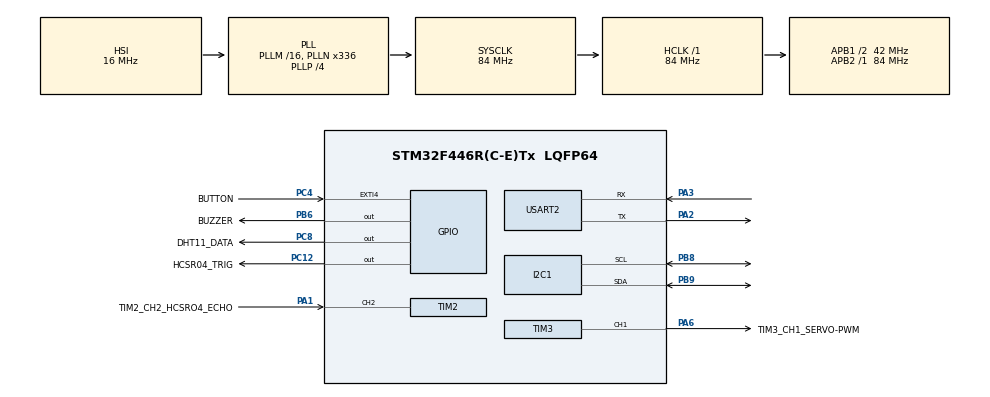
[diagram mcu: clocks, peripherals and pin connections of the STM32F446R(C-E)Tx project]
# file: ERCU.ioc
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FREERTOS.Queues01=SensorQueueHandle,16,uint16_t,0,Dynamic,NULL,NULL;FaultQueueHandle,16,uint16_t,0,Dynamic,NULL,NULL
FREERTOS.Tasks01=defaultTask,24,128,StartDefaultTask,Default,NULL,Dynamic,NULL,NULL;SensorTask,40,256,StartSensorTask,Default,NULL,Dynamic,NULL,NULL;FaultTask,32,256,StartTask03,Default,NULL,Dynamic,NULL,NULL;ActuatorTask,24,256,StartActuatorTask,Default,NULL,Dynamic,NULL,NULL;UartTask,8,256,StartUartTask,Default,NULL,Dynamic,NULL,NULL
FREERTOS.configUSE_NEWLIB_REENTRANT=1
Mcu.Family=STM32F4
Mcu.Name=STM32F446R(C-E)Tx
Mcu.Package=LQFP64
NVIC.EXTI4_IRQn=true\:5\:0\:false\:false\:true\:true\:true\:true\:true
NVIC.PriorityGroup=NVIC_PRIORITYGROUP_4
NVIC.TIM2_IRQn=true\:5\:0\:false\:false\:true\:true\:true\:true\:true
PA1.GPIO_Label=TIM2_CH2_HCSRO4_ECHO
PA1.Signal=S_TIM2_CH2
PA13.Mode=Serial_Wire
PA13.Signal=SYS_JTMS-SWDIO
PA14.Mode=Serial_Wire
PA14.Signal=SYS_JTCK-SWCLK
PA2.Mode=Asynchronous
PA2.Signal=USART2_TX
PA3.Mode=Asynchronous
PA3.Signal=USART2_RX
PA6.GPIO_Label=TIM3_CH1_SERVO-PWM
PA6.Signal=S_TIM3_CH1
PB6.GPIO_Label=BUZZER
PB6.Signal=GPIO_Output
PB8.Mode=I2C
PB8.Signal=I2C1_SCL
PB9.Mode=I2C
PB9.Signal=I2C1_SDA
PC12.GPIO_Label=HCSR04_TRIG
PC12.Signal=GPIO_Output
PC14-OSC32_IN.Mode=LSE-External-Oscillator
PC14-OSC32_IN.Signal=RCC_OSC32_IN
PC15-OSC32_OUT.Mode=LSE-External-Oscillator
PC15-OSC32_OUT.Signal=RCC_OSC32_OUT
PC4.GPIO_Label=BUTTON
PC4.GPIO_ModeDefaultEXTI=GPIO_MODE_IT_FALLING
PC4.GPIO_PuPd=GPIO_PULLUP
PC4.Signal=GPXTI4
PC8.GPIO_Label=DHT11_DATA
PC8.Signal=GPIO_Output
PH0-OSC_IN.Mode=HSE-External-Oscillator
PH0-OSC_IN.Signal=RCC_OSC_IN
PH1-OSC_OUT.Mode=HSE-External-Oscillator
PH1-OSC_OUT.Signal=RCC_OSC_OUT
ProjectManager.HeapSize=0x200
ProjectManager.StackSize=0x400
ProjectManager.TargetToolchain=STM32CubeIDE
RCC.48MHZClocksFreq_Value=84000000
RCC.AHBFreq_Value=84000000
RCC.APB1CLKDivider=RCC_HCLK_DIV2
RCC.APB1Freq_Value=42000000
RCC.APB1TimFreq_Value=84000000
RCC.APB2Freq_Value=84000000
RCC.APB2TimFreq_Value=84000000
RCC.CortexFreq_Value=84000000
RCC.FLatency-AdvancedSettings=FLASH_LATENCY_2
RCC.HCLKFreq_Value=84000000
RCC.HSE_VALUE=8000000
RCC.HSI_VALUE=16000000
RCC.PLLN=336
RCC.PLLP=RCC_PLLP_DIV4
RCC.SYSCLKFreq_VALUE=84000000
RCC.SYSCLKSource=RCC_SYSCLKSOURCE_PLLCLK
RCC.USBFreq_Value=168000000
RCC.VCOOutputFreq_Value=336000000
SH.S_TIM2_CH2.0=TIM2_CH2,Input_Capture2_from_TI2
SH.S_TIM3_CH1.0=TIM3_CH1,PWM Generation1 CH1
TIM2.Channel-Input_Capture2_from_TI2=TIM_CHANNEL_2
TIM2.Period=0xFFFF
TIM3.Channel-PWM\ Generation1\ CH1=TIM_CHANNEL_1
TIM3.Period=19999
TIM3.Prescaler=83
TIM3.Pulse-PWM\ Generation1\ CH1=1500
USART2.VirtualMode=VM_ASYNC
VP_FREERTOS_VS_CMSIS_V2.Mode=CMSIS_V2
board=NUCLEO-F446RE

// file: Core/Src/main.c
/* USER CODE BEGIN Header */
/**
 ******************************************************************************
 * @file           : main.c
 * @brief          : Main program body
 ******************************************************************************
 * @attention
 *
 * Copyright (c) 2026 STMicroelectronics.
 * All rights reserved.
 *
 * This software is licensed under terms that can be found in the LICENSE file
 * in the root directory of this software component.
 * If no LICENSE file comes with this software, it is provided AS-IS.
 *
 ******************************************************************************
 */
/* USER CODE END Header */
#include "main.h"
#include "cmsis_os.h"

/* USER CODE BEGIN Includes */
#include "button.h"
#include "buzzer.h"
#include "dht11.h"
#include "hcsr04.h"
#include "mpu6050.h"
#include "servo.h"
#include <stdio.h>
#include <string.h>

/* USER CODE END Includes */

/* USER CODE BEGIN PD */
#define OVERHEAT_THRESHOLD_C   45.0f
#define NEARBY_THRESHOLD_CM    30.0f
#define OBSTACLE_THRESHOLD_CM  10.0f
/* USER CODE END PD */

I2C_HandleTypeDef hi2c1;

TIM_HandleTypeDef htim2;
TIM_HandleTypeDef htim3;

UART_HandleTypeDef huart2;

/* Definitions for defaultTask */
osThreadId_t defaultTaskHandle;
const osThreadAttr_t defaultTask_attributes = {
  .name = "defaultTask",
  .stack_size = 128 * 4,
  .priority = (osPriority_t) osPriorityNormal,
};
/* Definitions for SensorTask */
osThreadId_t SensorTaskHandle;
const osThreadAttr_t SensorTask_attributes = {
  .name = "SensorTask",
  .stack_size = 256 * 4,
  .priority = (osPriority_t) osPriorityHigh,
};
/* Definitions for FaultTask */
osThreadId_t FaultTaskHandle;
const osThreadAttr_t FaultTask_attributes = {
  .name = "FaultTask",
  .stack_size = 256 * 4,
  .priority = (osPriority_t) osPriorityAboveNormal,
};
/* Definitions for ActuatorTask */
osThreadId_t ActuatorTaskHandle;
const osThreadAttr_t ActuatorTask_attributes = {
  .name = "ActuatorTask",
  .stack_size = 256 * 4,
  .priority = (osPriority_t) osPriorityNormal,
};
/* Definitions for UartTask */
osThreadId_t UartTaskHandle;
const osThreadAttr_t UartTask_attributes = {
  .name = "UartTask",
  .stack_size = 256 * 4,
  .priority = (osPriority_t) osPriorityLow,
};
/* Definitions for SensorQueueHandle */
osMessageQueueId_t SensorQueueHandleHandle;
const osMessageQueueAttr_t SensorQueueHandle_attributes = {
  .name = "SensorQueueHandle"
};
/* Definitions for FaultQueueHandle */
osMessageQueueId_t FaultQueueHandleHandle;
const osMessageQueueAttr_t FaultQueueHandle_attributes = {
  .name = "FaultQueueHandle"
};
/* USER CODE BEGIN PV */
/* Sensor data payload */
typedef struct {
  float distance_cm;
  uint8_t distance_ok;
  float tilt_deg;
  uint8_t tilt_ok;
  float temperature;
  float humidity;
  uint8_t dht_ok;
} SensorData_t;

/* System health classification */
typedef enum { SYS_HEALTHY, SYS_WARNING, SYS_FAULT } SystemState;

/* Processed fault state payload */
typedef struct {
  SystemState state;
  char status_msg[32];
  SensorData_t data;
} FaultResult_t;

static uint8_t mpu_ok, dht_ok;
static float baseline_tilt = 0.0f;
osMessageQueueId_t FaultQueue2Handle;
/* USER CODE END PV */

void SystemClock_Config(void);
static void MX_GPIO_Init(void);
static void MX_USART2_UART_Init(void);
static void MX_I2C1_Init(void);
static void MX_TIM2_Init(void);
static void MX_TIM3_Init(void);
void StartDefaultTask(void *argument);
void StartSensorTask(void *argument);
void StartTask03(void *argument);
void StartActuatorTask(void *argument);
void StartUartTask(void *argument);

/* USER CODE BEGIN PFP */
static void DWT_Init(void);
static void Run_POST(void);
static void Peripherals_Init(void);
static void uart_print(const char *str);
/* USER CODE END PFP */

int main(void)
{

  /* MCU Configuration--------------------------------------------------------*/

  /* Reset of all peripherals, Initializes the Flash interface and the Systick. */
  HAL_Init();

  /* Configure the system clock */
  SystemClock_Config();

  /* Initialize all configured peripherals */
  MX_GPIO_Init();
  MX_USART2_UART_Init();
  MX_I2C1_Init();
  MX_TIM2_Init();
  MX_TIM3_Init();
  /* USER CODE BEGIN 2 */
  HAL_TIM_PWM_Start(&htim3, TIM_CHANNEL_1);

  /* UART boot test */
  uart_print("\r\n--- UART OK ---\r\n");

  Peripherals_Init();
  Run_POST();
  /* USER CODE END 2 */

  /* Init scheduler */
  osKernelInitialize();

  /* Create the queue(s) */
  /* creation of SensorQueueHandle */
  SensorQueueHandleHandle = osMessageQueueNew (16, sizeof(uint16_t), &SensorQueueHandle_attributes);

  /* creation of FaultQueueHandle */
  FaultQueueHandleHandle = osMessageQueueNew (16, sizeof(uint16_t), &FaultQueueHandle_attributes);

  /* USER CODE BEGIN RTOS_QUEUES */
  osMessageQueueDelete(SensorQueueHandleHandle);
  SensorQueueHandleHandle = osMessageQueueNew(4, sizeof(SensorData_t), &SensorQueueHandle_attributes);
  osMessageQueueDelete(FaultQueueHandleHandle);
  FaultQueueHandleHandle = osMessageQueueNew(4, sizeof(FaultResult_t), &FaultQueueHandle_attributes);
  FaultQueue2Handle = osMessageQueueNew(4, sizeof(FaultResult_t), NULL);
  /* USER CODE END RTOS_QUEUES */

  /* Create the thread(s) */
  /* creation of defaultTask */
  defaultTaskHandle = osThreadNew(StartDefaultTask, NULL, &defaultTask_attributes);

  /* creation of SensorTask */
  SensorTaskHandle = osThreadNew(StartSensorTask, NULL, &SensorTask_attributes);

  /* creation of FaultTask */
  FaultTaskHandle = osThreadNew(StartTask03, NULL, &FaultTask_attributes);

  /* creation of ActuatorTask */
  ActuatorTaskHandle = osThreadNew(StartActuatorTask, NULL, &ActuatorTask_attributes);

  /* creation of UartTask */
  UartTaskHandle = osThreadNew(StartUartTask, NULL, &UartTask_attributes);

  /* Start scheduler */
  osKernelStart();

  /* We should never get here as control is now taken by the scheduler */

  /* Infinite loop */
  while (1) {

  }
}

void SystemClock_Config(void)
{
  RCC_OscInitTypeDef RCC_OscInitStruct = {0};
  RCC_ClkInitTypeDef RCC_ClkInitStruct = {0};

  /** Configure the main internal regulator output voltage
  */
  __HAL_RCC_PWR_CLK_ENABLE();
  __HAL_PWR_VOLTAGESCALING_CONFIG(PWR_REGULATOR_VOLTAGE_SCALE3);

  /** Initializes the RCC Oscillators according to the specified parameters
  * in the RCC_OscInitTypeDef structure.
  */
  RCC_OscInitStruct.OscillatorType = RCC_OSCILLATORTYPE_HSI;
  RCC_OscInitStruct.HSIState = RCC_HSI_ON;
  RCC_OscInitStruct.HSICalibrationValue = RCC_HSICALIBRATION_DEFAULT;
  RCC_OscInitStruct.PLL.PLLState = RCC_PLL_ON;
  RCC_OscInitStruct.PLL.PLLSource = RCC_PLLSOURCE_HSI;
  RCC_OscInitStruct.PLL.PLLM = 16;
  RCC_OscInitStruct.PLL.PLLN = 336;
  RCC_OscInitStruct.PLL.PLLP = RCC_PLLP_DIV4;
  RCC_OscInitStruct.PLL.PLLQ = 2;
  RCC_OscInitStruct.PLL.PLLR = 2;
  if (HAL_RCC_OscConfig(&RCC_OscInitStruct) != HAL_OK)
  {
    Error_Handler();
  }

  /** Initializes the CPU, AHB and APB buses clocks
  */
  RCC_ClkInitStruct.ClockType = RCC_CLOCKTYPE_HCLK|RCC_CLOCKTYPE_SYSCLK
                              |RCC_CLOCKTYPE_PCLK1|RCC_CLOCKTYPE_PCLK2;
  RCC_ClkInitStruct.SYSCLKSource = RCC_SYSCLKSOURCE_PLLCLK;
  RCC_ClkInitStruct.AHBCLKDivider = RCC_SYSCLK_DIV1;
  RCC_ClkInitStruct.APB1CLKDivider = RCC_HCLK_DIV2;
  RCC_ClkInitStruct.APB2CLKDivider = RCC_HCLK_DIV1;

  if (HAL_RCC_ClockConfig(&RCC_ClkInitStruct, FLASH_LATENCY_2) != HAL_OK)
  {
    Error_Handler();
  }
}

static void MX_I2C1_Init(void)
{

  hi2c1.Instance = I2C1;
  hi2c1.Init.ClockSpeed = 100000;
  hi2c1.Init.DutyCycle = I2C_DUTYCYCLE_2;
  hi2c1.Init.OwnAddress1 = 0;
  hi2c1.Init.AddressingMode = I2C_ADDRESSINGMODE_7BIT;
  hi2c1.Init.DualAddressMode = I2C_DUALADDRESS_DISABLE;
  hi2c1.Init.OwnAddress2 = 0;
  hi2c1.Init.GeneralCallMode = I2C_GENERALCALL_DISABLE;
  hi2c1.Init.NoStretchMode = I2C_NOSTRETCH_DISABLE;
  if (HAL_I2C_Init(&hi2c1) != HAL_OK)
  {
    Error_Handler();
  }

}

static void MX_TIM2_Init(void)
{

  TIM_MasterConfigTypeDef sMasterConfig = {0};
  TIM_IC_InitTypeDef sConfigIC = {0};

  htim2.Instance = TIM2;
  htim2.Init.Prescaler = 0;
  htim2.Init.CounterMode = TIM_COUNTERMODE_UP;
  htim2.Init.Period = 0xFFFF;
  htim2.Init.ClockDivision = TIM_CLOCKDIVISION_DIV1;
  htim2.Init.AutoReloadPreload = TIM_AUTORELOAD_PRELOAD_DISABLE;
  if (HAL_TIM_IC_Init(&htim2) != HAL_OK)
  {
    Error_Handler();
  }
  sMasterConfig.MasterOutputTrigger = TIM_TRGO_RESET;
  sMasterConfig.MasterSlaveMode = TIM_MASTERSLAVEMODE_DISABLE;
  if (HAL_TIMEx_MasterConfigSynchronization(&htim2, &sMasterConfig) != HAL_OK)
  {
    Error_Handler();
  }
  sConfigIC.ICPolarity = TIM_INPUTCHANNELPOLARITY_RISING;
  sConfigIC.ICSelection = TIM_ICSELECTION_DIRECTTI;
  sConfigIC.ICPrescaler = TIM_ICPSC_DIV1;
  sConfigIC.ICFilter = 0;
  if (HAL_TIM_IC_ConfigChannel(&htim2, &sConfigIC, TIM_CHANNEL_2) != HAL_OK)
  {
    Error_Handler();
  }

}

static void MX_TIM3_Init(void)
{

  TIM_MasterConfigTypeDef sMasterConfig = {0};
  TIM_OC_InitTypeDef sConfigOC = {0};

  htim3.Instance = TIM3;
  htim3.Init.Prescaler = 83;
  htim3.Init.CounterMode = TIM_COUNTERMODE_UP;
  htim3.Init.Period = 19999;
  htim3.Init.ClockDivision = TIM_CLOCKDIVISION_DIV1;
  htim3.Init.AutoReloadPreload = TIM_AUTORELOAD_PRELOAD_DISABLE;
  if (HAL_TIM_PWM_Init(&htim3) != HAL_OK)
  {
    Error_Handler();
  }
  sMasterConfig.MasterOutputTrigger = TIM_TRGO_RESET;
  sMasterConfig.MasterSlaveMode = TIM_MASTERSLAVEMODE_DISABLE;
  if (HAL_TIMEx_MasterConfigSynchronization(&htim3, &sMasterConfig) != HAL_OK)
  {
    Error_Handler();
  }
  sConfigOC.OCMode = TIM_OCMODE_PWM1;
  sConfigOC.Pulse = 1500;
  sConfigOC.OCPolarity = TIM_OCPOLARITY_HIGH;
  sConfigOC.OCFastMode = TIM_OCFAST_DISABLE;
  if (HAL_TIM_PWM_ConfigChannel(&htim3, &sConfigOC, TIM_CHANNEL_1) != HAL_OK)
  {
    Error_Handler();
  }
  HAL_TIM_MspPostInit(&htim3);

}

static void MX_USART2_UART_Init(void)
{

  huart2.Instance = USART2;
  huart2.Init.BaudRate = 115200;
  huart2.Init.WordLength = UART_WORDLENGTH_8B;
  huart2.Init.StopBits = UART_STOPBITS_1;
  huart2.Init.Parity = UART_PARITY_NONE;
  huart2.Init.Mode = UART_MODE_TX_RX;
  huart2.Init.HwFlowCtl = UART_HWCONTROL_NONE;
  huart2.Init.OverSampling = UART_OVERSAMPLING_16;
  if (HAL_UART_Init(&huart2) != HAL_OK)
  {
    Error_Handler();
  }

}

static void MX_GPIO_Init(void)
{
  GPIO_InitTypeDef GPIO_InitStruct = {0};

  /* GPIO Ports Clock Enable */
  __HAL_RCC_GPIOC_CLK_ENABLE();
  __HAL_RCC_GPIOH_CLK_ENABLE();
  __HAL_RCC_GPIOA_CLK_ENABLE();
  __HAL_RCC_GPIOB_CLK_ENABLE();

  /*Configure GPIO pin Output Level */
  HAL_GPIO_WritePin(GPIOC, DHT11_DATA_Pin|HCSR04_TRIG_Pin, GPIO_PIN_RESET);

  /*Configure GPIO pin Output Level */
  HAL_GPIO_WritePin(BUZZER_GPIO_Port, BUZZER_Pin, GPIO_PIN_RESET);

  /*Configure GPIO pin : BUTTON_Pin */
  GPIO_InitStruct.Pin = BUTTON_Pin;
  GPIO_InitStruct.Mode = GPIO_MODE_IT_FALLING;
  GPIO_InitStruct.Pull = GPIO_PULLUP;
  HAL_GPIO_Init(BUTTON_GPIO_Port, &GPIO_InitStruct);

  /*Configure GPIO pins : DHT11_DATA_Pin HCSR04_TRIG_Pin */
  GPIO_InitStruct.Pin = DHT11_DATA_Pin|HCSR04_TRIG_Pin;
  GPIO_InitStruct.Mode = GPIO_MODE_OUTPUT_PP;
  GPIO_InitStruct.Pull = GPIO_NOPULL;
  GPIO_InitStruct.Speed = GPIO_SPEED_FREQ_LOW;
  HAL_GPIO_Init(GPIOC, &GPIO_InitStruct);

  /*Configure GPIO pin : BUZZER_Pin */
  GPIO_InitStruct.Pin = BUZZER_Pin;
  GPIO_InitStruct.Mode = GPIO_MODE_OUTPUT_PP;
  GPIO_InitStruct.Pull = GPIO_NOPULL;
  GPIO_InitStruct.Speed = GPIO_SPEED_FREQ_LOW;
  HAL_GPIO_Init(BUZZER_GPIO_Port, &GPIO_InitStruct);

  /* EXTI interrupt init*/
  HAL_NVIC_SetPriority(EXTI4_IRQn, 5, 0);
  HAL_NVIC_EnableIRQ(EXTI4_IRQn);

}

/* USER CODE BEGIN 4 */

/* ---- Lightweight UART helpers (no printf float dependency) ---- */
static void uart_print(const char *str) {
  while (*str) {
    HAL_UART_Transmit(&huart2, (uint8_t *)str, 1, HAL_MAX_DELAY);
    str++;
  }
}

/* Print float with 1 decimal place, e.g. 23.5 */
static void uart_print_float(float val) {
  char buf[16];
  if (val < 0) {
    uart_print("-");
    val = -val;
  }
  int whole = (int)val;
  int frac = (int)((val - whole) * 10 + 0.5f);
  if (frac >= 10) {
    whole++;
    frac = 0;
  }
  int len = snprintf(buf, sizeof(buf), "%d.%d", whole, frac);
  HAL_UART_Transmit(&huart2, (uint8_t *)buf, len, HAL_MAX_DELAY);
}

/* Print unsigned integer */
static void uart_print_uint(unsigned int val) {
  char buf[12];
  int len = snprintf(buf, sizeof(buf), "%u", val);
  HAL_UART_Transmit(&huart2, (uint8_t *)buf, len, HAL_MAX_DELAY);
}

static void DWT_Init(void) {
  CoreDebug->DEMCR |= CoreDebug_DEMCR_TRCENA_Msk;
  DWT->CYCCNT = 0;
  DWT->CTRL |= DWT_CTRL_CYCCNTENA_Msk;
}

static void Run_POST(void) {
  uart_print("========================================\r\n");
  uart_print(" Smart Embedded Robot Controller - POST\r\n");
  uart_print("========================================\r\n");

  mpu_ok = MPU6050_Init();
  uart_print("[POST] MPU6050 (I2C1)........... ");
  if (mpu_ok) {
      uart_print("PASS\r\n");
      /* Calibrate baseline tilt so "ideal" = 0 degrees */
      float sum_tilt = 0;
      for (int i = 0; i < 10; i++) {
          float t = 0;
          MPU6050_ReadTilt(&t);
          sum_tilt += t;
          HAL_Delay(10);
      }
      baseline_tilt = sum_tilt / 10.0f;
  } else {
      uart_print("FAIL\r\n");
  }

  HCSR04_Trigger();
  HAL_Delay(60);
  HCSR04_CheckTimeout();
  uart_print("[POST] HC-SR04 (Trig/Echo)...... ");
  uart_print(HCSR04_IsHealthy() ? "PASS\r\n" : "FAIL\r\n");

  DHT11_Data post_dht;
  dht_ok = DHT11_Read(&post_dht);
  uart_print("[POST] DHT11 (Temp/Humidity).... ");
  uart_print(dht_ok ? "PASS\r\n" : "FAIL\r\n");

  uart_print("[POST] Servo PWM (TIM3)......... INIT OK\r\n");
  uart_print("[POST] Buzzer GPIO.............. INIT OK\r\n");
  uart_print("----------------------------------------\r\n");

  if (mpu_ok && HCSR04_IsHealthy() && dht_ok)
    uart_print("System Status: ALL SENSORS OK - READY\r\n");
  else
    uart_print("System Status: WARNING - sensor(s) failed POST\r\n");
  uart_print("========================================\r\n\r\n");
}

static void Peripherals_Init(void) {
  DWT_Init();
  HCSR04_Init();
  DHT11_Init();
}

/* USER CODE END 4 */

void StartDefaultTask(void *argument)
{
  for(;;)
  {
    osDelay(1);
  }
}

void StartSensorTask(void *argument)
{
  /* USER CODE BEGIN StartSensorTask */
  SensorData_t d;
  DHT11_Data dht;

  for(;;)
  {
    memset(&d, 0, sizeof(d));

    /* Ultrasonic sensor reading */
    HCSR04_Trigger();
    osDelay(60);
    HCSR04_CheckTimeout();
    d.distance_ok = HCSR04_IsHealthy();
    d.distance_cm = HCSR04_GetDistance();

    /* MPU6050 tilt reading */
    d.tilt_ok = mpu_ok ? MPU6050_ReadTilt(&d.tilt_deg) : 0;
    if (d.tilt_ok) {
      d.tilt_deg -= baseline_tilt;
      if (d.tilt_deg < 0) d.tilt_deg = -d.tilt_deg;
    }

    /* DHT11 environment reading */
    d.dht_ok = DHT11_Read(&dht);
    if (d.dht_ok) {
      d.temperature = dht.temperature;
      d.humidity = dht.humidity;
    }

    /* Dispatch to fault evaluation task */
    osMessageQueuePut(SensorQueueHandleHandle, &d, 0, 0);
    osDelay(1000);
  }
  /* USER CODE END StartSensorTask */
}

void StartTask03(void *argument)
{
  /* USER CODE BEGIN StartTask03 */
  SensorData_t d;
  FaultResult_t f;
  uint8_t obstacle_active = 0;

  for(;;)
  {
    if (osMessageQueueGet(SensorQueueHandleHandle, &d, NULL, osWaitForever) == osOK)
    {
      f.state = SYS_HEALTHY;
      f.data = d;
      strcpy(f.status_msg, "OK");

      /* Peripheral health checks */
      if (!d.distance_ok)
        { f.state = SYS_WARNING; strcpy(f.status_msg, "HC-SR04 TIMEOUT"); }
      if (mpu_ok && !d.tilt_ok)
        { f.state = SYS_WARNING; strcpy(f.status_msg, "MPU6050 COMM FAIL"); }
      if (!d.dht_ok)
        { f.state = SYS_WARNING; strcpy(f.status_msg, "DHT11 COMM FAIL"); }
      if (d.dht_ok && d.temperature > OVERHEAT_THRESHOLD_C)
        { f.state = SYS_WARNING; strcpy(f.status_msg, "OVERHEAT"); }

      /* Obstacle proximity evaluation with hysteresis */
      if (d.distance_ok) {
        if (d.distance_cm < OBSTACLE_THRESHOLD_CM)
          obstacle_active = 1;
        else if (d.distance_cm > OBSTACLE_THRESHOLD_CM + 2.0f)
          obstacle_active = 0;

        if (obstacle_active)
          { f.state = SYS_FAULT; strcpy(f.status_msg, "OBSTACLE TOO CLOSE"); }
        else if (d.distance_cm < NEARBY_THRESHOLD_CM && f.state != SYS_FAULT)
          { f.state = SYS_WARNING; strcpy(f.status_msg, "OBJECT NEARBY"); }
      }

      /* Manual override */
      if (emergency_stop_flag)
        { f.state = SYS_FAULT; strcpy(f.status_msg, "MANUAL EMERGENCY STOP"); }

      /* Dispatch state to consumers */
      osMessageQueuePut(FaultQueueHandleHandle, &f, 0, 0);
      osMessageQueuePut(FaultQueue2Handle, &f, 0, 0);
    }
  }
  /* USER CODE END StartTask03 */
}

void StartActuatorTask(void *argument)
{
  /* USER CODE BEGIN StartActuatorTask */
  FaultResult_t current_f = {0};
  current_f.state = SYS_HEALTHY;
  current_f.data.distance_ok = 1;
  current_f.data.distance_cm = 999.0f;

  for(;;)
  {
    /* Handle manual emergency stop */
    if (emergency_stop_flag) {
      Buzzer_Off();
      osDelay(50);
      continue;
    }

    /* Update current state if new data is available */
    FaultResult_t temp_f;
    if (osMessageQueueGet(FaultQueueHandleHandle, &temp_f, NULL, 50) == osOK) {
      current_f = temp_f;
    }

    /* Evaluate proximity threshold (with basic noise rejection) */
    if (current_f.data.distance_ok && current_f.data.distance_cm < 30.0f && current_f.data.distance_cm >= 2.0f) {
      Buzzer_On();
    } else {
      Buzzer_Off();
      Servo_SweepStep();
    }
  }
  /* USER CODE END StartActuatorTask */
}

void StartUartTask(void *argument)
{
  /* USER CODE BEGIN StartUartTask */
  FaultResult_t f;

  for(;;)
  {
    if (osMessageQueueGet(FaultQueue2Handle, &f, NULL, osWaitForever) == osOK)
    {
      uart_print("Distance : ");
      if (f.data.distance_ok) {
        uart_print_float(f.data.distance_cm);
        uart_print(" cm\r\n");
      } else {
        uart_print("--- (no echo)\r\n");
      }

      uart_print("Tilt     : ");
      if (f.data.tilt_ok) {
        uart_print_float(f.data.tilt_deg);
        uart_print(" deg\r\n");
      } else {
        uart_print("--- (sensor unavailable)\r\n");
      }

      uart_print("Temp/RH  : ");
      if (f.data.dht_ok) {
        uart_print_float(f.data.temperature);
        uart_print(" C / ");
        uart_print_float(f.data.humidity);
        uart_print(" %\r\n");
      } else {
        uart_print("--- (sensor unavailable)\r\n");
      }

      uart_print("\r\nMotor    : ");
      uart_print(f.state == SYS_FAULT ? "STOPPED\r\n" : "SCANNING\r\n");

      uart_print("Servo    : ");
      uart_print_uint(Servo_GetAngle());
      uart_print(" deg\r\n");

      uart_print("Status   : ");
      uart_print(f.status_msg);
      uart_print("\r\n");

      uart_print("System   : ");
      if (f.state == SYS_HEALTHY) uart_print("HEALTHY\r\n");
      else if (f.state == SYS_WARNING) uart_print("WARNING\r\n");
      else uart_print("FAULT\r\n");
      uart_print("----------------------------------------\r\n");
    }
  }
  /* USER CODE END StartUartTask */
}

void Error_Handler(void)
{
  __disable_irq();
  while (1) {
  }
}
#ifdef USE_FULL_ASSERT
/**
  * @brief  Reports the name of the source file and the source line number
  *         where the assert_param error has occurred.
  * @param  file: pointer to the source file name
  * @param  line: assert_param error line source number
  * @retval None
  */
void assert_failed(uint8_t *file, uint32_t line)
{
  /* USER CODE BEGIN 6 */
  /* User can add his own implementation to report the file name and line
     number, ex: printf("Wrong parameters value: file %s on line %d\r\n", file,
     line) */
  /* USER CODE END 6 */
}
#endif /* USE_FULL_ASSERT */
